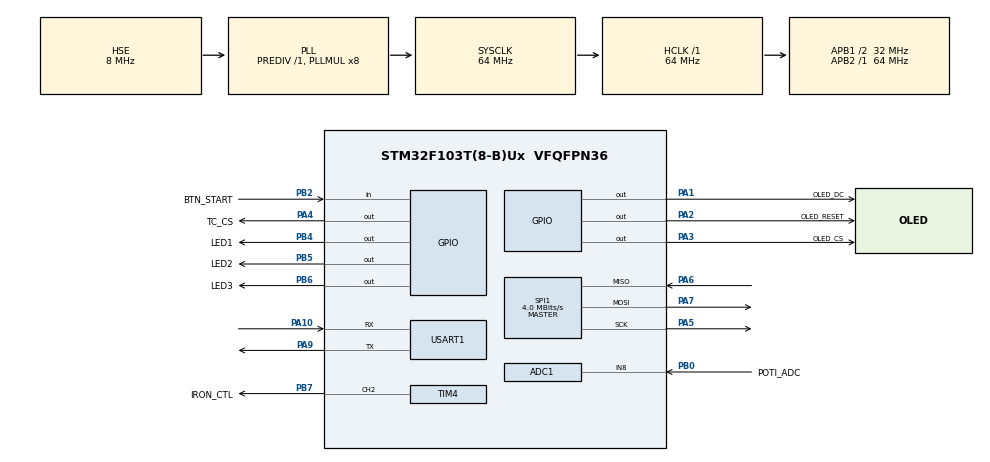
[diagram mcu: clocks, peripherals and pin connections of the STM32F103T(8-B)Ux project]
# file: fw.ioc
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ADC1.Channel-0\#ChannelRegularConversion=ADC_CHANNEL_8
ADC1.NbrOfConversion=1
ADC1.NbrOfConversionFlag=1
ADC1.Rank-0\#ChannelRegularConversion=1
ADC1.SamplingTime-0\#ChannelRegularConversion=ADC_SAMPLETIME_1CYCLE_5
ADC1.master=1
FREERTOS.INCLUDE_vTaskDelayUntil=1
FREERTOS.MEMORY_ALLOCATION=2
FREERTOS.Tasks01=defaultTask,0,128,StartDefaultTask,Default,NULL,Static,defaultTaskBuffer,defaultTaskControlBlock;pidTask,1,128,StartPidTask,Default,NULL,Static,pidTaskBuffer,pidTaskControlBlock;tcTask,0,128,startTcTask,Default,NULL,Static,tcTaskBuffer,tcTaskControlBlock;controlTask,0,128,StartControlTask,As external,NULL,Static,controlTaskBuffer,controlTaskControlBlock
FREERTOS.configGENERATE_RUN_TIME_STATS=0
FREERTOS.configTICK_RATE_HZ=100
FREERTOS.configUSE_TRACE_FACILITY=0
Mcu.Family=STM32F1
Mcu.Name=STM32F103T(8-B)Ux
Mcu.Package=VFQFPN36
NVIC.PriorityGroup=NVIC_PRIORITYGROUP_4
NVIC.TIM1_UP_IRQn=true\:0\:0\:false\:false\:true\:false\:false
NVIC.TIM4_IRQn=true\:5\:0\:false\:false\:true\:true\:true
NVIC.TimeBase=TIM1_UP_IRQn
NVIC.TimeBaseIP=TIM1
NVIC.USART1_IRQn=true\:4\:0\:true\:false\:true\:false\:true
PA1.GPIO_Label=OLED_DC
PA1.Signal=GPIO_Output
PA10.Mode=Asynchronous
PA10.Signal=USART1_RX
PA13.Mode=Trace_Asynchronous_SW
PA13.Signal=SYS_JTMS-SWDIO
PA14.Mode=Trace_Asynchronous_SW
PA14.Signal=SYS_JTCK-SWCLK
PA2.GPIO_Label=OLED_RESET
PA2.Signal=GPIO_Output
PA3.GPIO_Label=OLED_CS
PA3.Signal=GPIO_Output
PA4.GPIO_Label=TC_CS
PA4.Signal=GPIO_Output
PA5.Mode=Full_Duplex_Master
PA5.Signal=SPI1_SCK
PA6.Mode=Full_Duplex_Master
PA6.Signal=SPI1_MISO
PA7.Mode=Full_Duplex_Master
PA7.Signal=SPI1_MOSI
PA9.Mode=Asynchronous
PA9.Signal=USART1_TX
PB0.GPIO_Label=POTI_ADC
PB0.Signal=ADCx_IN8
PB2.GPIO_Label=BTN_START
PB2.Signal=GPIO_Input
PB3.Mode=Trace_Asynchronous_SW
PB3.Signal=SYS_JTDO-TRACESWO
PB4.GPIO_Label=LED1
PB4.Signal=GPIO_Output
PB5.GPIO_Label=LED2
PB5.Signal=GPIO_Output
PB6.GPIO_Label=LED3
PB6.Signal=GPIO_Output
PB7.GPIO_Label=IRON_CTL
PB7.GPIO_Speed=GPIO_SPEED_FREQ_LOW
PB7.Signal=S_TIM4_CH2
PD0-OSC_IN.Mode=HSE-External-Oscillator
PD0-OSC_IN.Signal=RCC_OSC_IN
PD1-OSC_OUT.Mode=HSE-External-Oscillator
PD1-OSC_OUT.Signal=RCC_OSC_OUT
ProjectManager.HeapSize=0x200
ProjectManager.StackSize=0x400
ProjectManager.TargetToolchain=Makefile
RCC.ADCPresc=RCC_ADCPCLK2_DIV8
RCC.AHBFreq_Value=64000000
RCC.APB1CLKDivider=RCC_HCLK_DIV2
RCC.APB1Freq_Value=32000000
RCC.APB1TimFreq_Value=64000000
RCC.APB2Freq_Value=64000000
RCC.APB2TimFreq_Value=64000000
RCC.HCLKFreq_Value=64000000
RCC.PLLMUL=RCC_PLL_MUL8
RCC.PLLSourceVirtual=RCC_PLLSOURCE_HSE
RCC.SYSCLKFreq_VALUE=64000000
RCC.SYSCLKSource=RCC_SYSCLKSOURCE_PLLCLK
RCC.USBFreq_Value=64000000
SH.ADCx_IN8.0=ADC1_IN8,IN8
SH.S_TIM4_CH2.0=TIM4_CH2,PWM Generation2 CH2
SPI1.BaudRatePrescaler=SPI_BAUDRATEPRESCALER_16
SPI1.CLKPhase=SPI_PHASE_1EDGE
SPI1.CLKPolarity=SPI_POLARITY_LOW
SPI1.CalculateBaudRate=4.0 MBits/s
SPI1.Direction=SPI_DIRECTION_2LINES
SPI1.Mode=SPI_MODE_MASTER
SPI1.VirtualType=VM_MASTER
TIM4.Channel-PWM\ Generation2\ CH2=TIM_CHANNEL_2
TIM4.Period=7999
TIM4.Prescaler=7999
TIM4.Pulse-PWM\ Generation2\ CH2=4000
USART1.VirtualMode=VM_ASYNC
VP_FREERTOS_VS_ENABLE.Mode=Enabled
VP_SYS_VS_tim1.Mode=TIM1
VP_TIM4_VS_ClockSourceINT.Mode=Internal
board=custom

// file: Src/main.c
/* USER CODE BEGIN Header */
/**
  ******************************************************************************
  * @file           : main.c
  * @brief          : Main program body
  ******************************************************************************
  ** This notice applies to any and all portions of this file
  * that are not between comment pairs USER CODE BEGIN and
  * USER CODE END. Other portions of this file, whether
  * inserted by the user or by software development tools
  * are owned by their respective copyright owners.
  *
  * COPYRIGHT(c) 2019 STMicroelectronics
  *
  * Redistribution and use in source and binary forms, with or without modification,
  * are permitted provided that the following conditions are met:
  *   1. Redistributions of source code must retain the above copyright notice,
  *      this list of conditions and the following disclaimer.
  *   2. Redistributions in binary form must reproduce the above copyright notice,
  *      this list of conditions and the following disclaimer in the documentation
  *      and/or other materials provided with the distribution.
  *   3. Neither the name of STMicroelectronics nor the names of its contributors
  *      may be used to endorse or promote products derived from this software
  *      without specific prior written permission.
  *
  * THIS SOFTWARE IS PROVIDED BY THE COPYRIGHT HOLDERS AND CONTRIBUTORS "AS IS"
  * AND ANY EXPRESS OR IMPLIED WARRANTIES, INCLUDING, BUT NOT LIMITED TO, THE
  * IMPLIED WARRANTIES OF MERCHANTABILITY AND FITNESS FOR A PARTICULAR PURPOSE ARE
  * DISCLAIMED. IN NO EVENT SHALL THE COPYRIGHT HOLDER OR CONTRIBUTORS BE LIABLE
  * FOR ANY DIRECT, INDIRECT, INCIDENTAL, SPECIAL, EXEMPLARY, OR CONSEQUENTIAL
  * DAMAGES (INCLUDING, BUT NOT LIMITED TO, PROCUREMENT OF SUBSTITUTE GOODS OR
  * SERVICES; LOSS OF USE, DATA, OR PROFITS; OR BUSINESS INTERRUPTION) HOWEVER
  * CAUSED AND ON ANY THEORY OF LIABILITY, WHETHER IN CONTRACT, STRICT LIABILITY,
  * OR TORT (INCLUDING NEGLIGENCE OR OTHERWISE) ARISING IN ANY WAY OUT OF THE USE
  * OF THIS SOFTWARE, EVEN IF ADVISED OF THE POSSIBILITY OF SUCH DAMAGE.
  *
  ******************************************************************************
  */
/* USER CODE END Header */

#include "main.h"
#include "cmsis_os.h"

/* USER CODE BEGIN Includes */
#include "oled.h"
#include "pid.h"
#include "thermocouple.h"

/* USER CODE END Includes */

ADC_HandleTypeDef hadc1;

SPI_HandleTypeDef hspi1;

TIM_HandleTypeDef htim4;

UART_HandleTypeDef huart1;

osThreadId defaultTaskHandle;
uint32_t defaultTaskBuffer[ 128 ];
osStaticThreadDef_t defaultTaskControlBlock;
osThreadId pidTaskHandle;
uint32_t pidTaskBuffer[ 128 ];
osStaticThreadDef_t pidTaskControlBlock;
osThreadId tcTaskHandle;
uint32_t tcTaskBuffer[ 128 ];
osStaticThreadDef_t tcTaskControlBlock;
osThreadId controlTaskHandle;
uint32_t controlTaskBuffer[ 128 ];
osStaticThreadDef_t controlTaskControlBlock;

void SystemClock_Config(void);
static void MX_GPIO_Init(void);
static void MX_SPI1_Init(void);
static void MX_ADC1_Init(void);
static void MX_USART1_UART_Init(void);
static void MX_TIM4_Init(void);
void StartDefaultTask(void const * argument);
void StartPidTask(void const * argument);
void startTcTask(void const * argument);
extern void StartControlTask(void const * argument);

/* USER CODE BEGIN 0 */
  void vTaskLedRed(void *p) {
    for (;;) {
    }
  }

/* USER CODE END 0 */

int main(void)
{
  /* USER CODE BEGIN 1 */
  task_pid_status    = TASK_WAIT;
  task_pid_remaining = TASK_PID_INTERVAL;

  /* USER CODE END 1 */

  /* MCU Configuration--------------------------------------------------------*/

  /* Reset of all peripherals, Initializes the Flash interface and the Systick. */
  HAL_Init();

  /* Configure the system clock */
  SystemClock_Config();

  /* Initialize all configured peripherals */
  MX_GPIO_Init();
  MX_SPI1_Init();
  MX_ADC1_Init();
  MX_USART1_UART_Init();
  MX_TIM4_Init();
  /* USER CODE BEGIN 2 */
  HAL_GPIO_WritePin(OLED_CS_GPIO_Port, OLED_CS_Pin, GPIO_PIN_SET);
  HAL_GPIO_WritePin(TC_CS_GPIO_Port, TC_CS_Pin, GPIO_PIN_SET);
  oled_init();
  tc_init();

  //HAL_GPIO_WritePin(GPIOB, LED3_Pin, GPIO_PIN_SET);
  //HAL_GPIO_WritePin(GPIOB, LED2_Pin, GPIO_PIN_SET);
  //HAL_GPIO_WritePin(GPIOB, LED1_Pin, GPIO_PIN_SET);

  /* USER CODE END 2 */

  /* Create the thread(s) */
  /* definition and creation of defaultTask */
  osThreadStaticDef(defaultTask, StartDefaultTask, osPriorityNormal, 0, 128, defaultTaskBuffer, &defaultTaskControlBlock);
  defaultTaskHandle = osThreadCreate(osThread(defaultTask), NULL);

  /* definition and creation of pidTask */
  osThreadStaticDef(pidTask, StartPidTask, osPriorityAboveNormal, 0, 128, pidTaskBuffer, &pidTaskControlBlock);
  pidTaskHandle = osThreadCreate(osThread(pidTask), NULL);

  /* definition and creation of tcTask */
  osThreadStaticDef(tcTask, startTcTask, osPriorityNormal, 0, 128, tcTaskBuffer, &tcTaskControlBlock);
  tcTaskHandle = osThreadCreate(osThread(tcTask), NULL);

  /* definition and creation of controlTask */
  osThreadStaticDef(controlTask, StartControlTask, osPriorityNormal, 0, 128, controlTaskBuffer, &controlTaskControlBlock);
  controlTaskHandle = osThreadCreate(osThread(controlTask), NULL);

  /* Start scheduler */
  osKernelStart();

  /* We should never get here as control is now taken by the scheduler */

  /* Infinite loop */
  while (1)
  {

  }
}

void SystemClock_Config(void)
{
  RCC_OscInitTypeDef RCC_OscInitStruct = {0};
  RCC_ClkInitTypeDef RCC_ClkInitStruct = {0};
  RCC_PeriphCLKInitTypeDef PeriphClkInit = {0};

  /**Initializes the CPU, AHB and APB busses clocks
  */
  RCC_OscInitStruct.OscillatorType = RCC_OSCILLATORTYPE_HSE;
  RCC_OscInitStruct.HSEState = RCC_HSE_ON;
  RCC_OscInitStruct.HSEPredivValue = RCC_HSE_PREDIV_DIV1;
  RCC_OscInitStruct.HSIState = RCC_HSI_ON;
  RCC_OscInitStruct.PLL.PLLState = RCC_PLL_ON;
  RCC_OscInitStruct.PLL.PLLSource = RCC_PLLSOURCE_HSE;
  RCC_OscInitStruct.PLL.PLLMUL = RCC_PLL_MUL8;
  if (HAL_RCC_OscConfig(&RCC_OscInitStruct) != HAL_OK)
  {
    Error_Handler();
  }
  /**Initializes the CPU, AHB and APB busses clocks
  */
  RCC_ClkInitStruct.ClockType = RCC_CLOCKTYPE_HCLK|RCC_CLOCKTYPE_SYSCLK
                              |RCC_CLOCKTYPE_PCLK1|RCC_CLOCKTYPE_PCLK2;
  RCC_ClkInitStruct.SYSCLKSource = RCC_SYSCLKSOURCE_PLLCLK;
  RCC_ClkInitStruct.AHBCLKDivider = RCC_SYSCLK_DIV1;
  RCC_ClkInitStruct.APB1CLKDivider = RCC_HCLK_DIV2;
  RCC_ClkInitStruct.APB2CLKDivider = RCC_HCLK_DIV1;

  if (HAL_RCC_ClockConfig(&RCC_ClkInitStruct, FLASH_LATENCY_2) != HAL_OK)
  {
    Error_Handler();
  }
  PeriphClkInit.PeriphClockSelection = RCC_PERIPHCLK_ADC;
  PeriphClkInit.AdcClockSelection = RCC_ADCPCLK2_DIV8;
  if (HAL_RCCEx_PeriphCLKConfig(&PeriphClkInit) != HAL_OK)
  {
    Error_Handler();
  }
}

static void MX_ADC1_Init(void)
{

  ADC_ChannelConfTypeDef sConfig = {0};

  /**Common config
  */
  hadc1.Instance = ADC1;
  hadc1.Init.ScanConvMode = ADC_SCAN_DISABLE;
  hadc1.Init.ContinuousConvMode = DISABLE;
  hadc1.Init.DiscontinuousConvMode = DISABLE;
  hadc1.Init.ExternalTrigConv = ADC_SOFTWARE_START;
  hadc1.Init.DataAlign = ADC_DATAALIGN_RIGHT;
  hadc1.Init.NbrOfConversion = 1;
  if (HAL_ADC_Init(&hadc1) != HAL_OK)
  {
    Error_Handler();
  }
  /**Configure Regular Channel
  */
  sConfig.Channel = ADC_CHANNEL_8;
  sConfig.Rank = ADC_REGULAR_RANK_1;
  sConfig.SamplingTime = ADC_SAMPLETIME_1CYCLE_5;
  if (HAL_ADC_ConfigChannel(&hadc1, &sConfig) != HAL_OK)
  {
    Error_Handler();
  }

}

static void MX_SPI1_Init(void)
{

  /* SPI1 parameter configuration*/
  hspi1.Instance = SPI1;
  hspi1.Init.Mode = SPI_MODE_MASTER;
  hspi1.Init.Direction = SPI_DIRECTION_2LINES;
  hspi1.Init.DataSize = SPI_DATASIZE_8BIT;
  hspi1.Init.CLKPolarity = SPI_POLARITY_LOW;
  hspi1.Init.CLKPhase = SPI_PHASE_1EDGE;
  hspi1.Init.NSS = SPI_NSS_SOFT;
  hspi1.Init.BaudRatePrescaler = SPI_BAUDRATEPRESCALER_16;
  hspi1.Init.FirstBit = SPI_FIRSTBIT_MSB;
  hspi1.Init.TIMode = SPI_TIMODE_DISABLE;
  hspi1.Init.CRCCalculation = SPI_CRCCALCULATION_DISABLE;
  hspi1.Init.CRCPolynomial = 10;
  if (HAL_SPI_Init(&hspi1) != HAL_OK)
  {
    Error_Handler();
  }

}

static void MX_TIM4_Init(void)
{

  TIM_ClockConfigTypeDef sClockSourceConfig = {0};
  TIM_MasterConfigTypeDef sMasterConfig = {0};
  TIM_OC_InitTypeDef sConfigOC = {0};

  htim4.Instance = TIM4;
  htim4.Init.Prescaler = 7999;
  htim4.Init.CounterMode = TIM_COUNTERMODE_UP;
  htim4.Init.Period = 7999;
  htim4.Init.ClockDivision = TIM_CLOCKDIVISION_DIV1;
  htim4.Init.AutoReloadPreload = TIM_AUTORELOAD_PRELOAD_DISABLE;
  if (HAL_TIM_Base_Init(&htim4) != HAL_OK)
  {
    Error_Handler();
  }
  sClockSourceConfig.ClockSource = TIM_CLOCKSOURCE_INTERNAL;
  if (HAL_TIM_ConfigClockSource(&htim4, &sClockSourceConfig) != HAL_OK)
  {
    Error_Handler();
  }
  if (HAL_TIM_PWM_Init(&htim4) != HAL_OK)
  {
    Error_Handler();
  }
  sMasterConfig.MasterOutputTrigger = TIM_TRGO_RESET;
  sMasterConfig.MasterSlaveMode = TIM_MASTERSLAVEMODE_DISABLE;
  if (HAL_TIMEx_MasterConfigSynchronization(&htim4, &sMasterConfig) != HAL_OK)
  {
    Error_Handler();
  }
  sConfigOC.OCMode = TIM_OCMODE_PWM1;
  sConfigOC.Pulse = 4000;
  sConfigOC.OCPolarity = TIM_OCPOLARITY_HIGH;
  sConfigOC.OCFastMode = TIM_OCFAST_DISABLE;
  if (HAL_TIM_PWM_ConfigChannel(&htim4, &sConfigOC, TIM_CHANNEL_2) != HAL_OK)
  {
    Error_Handler();
  }
  HAL_TIM_MspPostInit(&htim4);

}

static void MX_USART1_UART_Init(void)
{

  huart1.Instance = USART1;
  huart1.Init.BaudRate = 115200;
  huart1.Init.WordLength = UART_WORDLENGTH_8B;
  huart1.Init.StopBits = UART_STOPBITS_1;
  huart1.Init.Parity = UART_PARITY_NONE;
  huart1.Init.Mode = UART_MODE_TX_RX;
  huart1.Init.HwFlowCtl = UART_HWCONTROL_NONE;
  huart1.Init.OverSampling = UART_OVERSAMPLING_16;
  if (HAL_UART_Init(&huart1) != HAL_OK)
  {
    Error_Handler();
  }

}

static void MX_GPIO_Init(void)
{
  GPIO_InitTypeDef GPIO_InitStruct = {0};

  /* GPIO Ports Clock Enable */
  __HAL_RCC_GPIOD_CLK_ENABLE();
  __HAL_RCC_GPIOA_CLK_ENABLE();
  __HAL_RCC_GPIOB_CLK_ENABLE();

  /*Configure GPIO pin Output Level */
  HAL_GPIO_WritePin(GPIOA, OLED_DC_Pin|OLED_RESET_Pin|OLED_CS_Pin|TC_CS_Pin, GPIO_PIN_RESET);

  /*Configure GPIO pin Output Level */
  HAL_GPIO_WritePin(GPIOB, LED1_Pin|LED2_Pin|LED3_Pin, GPIO_PIN_RESET);

  /*Configure GPIO pins : OLED_DC_Pin OLED_RESET_Pin OLED_CS_Pin TC_CS_Pin */
  GPIO_InitStruct.Pin = OLED_DC_Pin|OLED_RESET_Pin|OLED_CS_Pin|TC_CS_Pin;
  GPIO_InitStruct.Mode = GPIO_MODE_OUTPUT_PP;
  GPIO_InitStruct.Pull = GPIO_NOPULL;
  GPIO_InitStruct.Speed = GPIO_SPEED_FREQ_LOW;
  HAL_GPIO_Init(GPIOA, &GPIO_InitStruct);

  /*Configure GPIO pin : BTN_START_Pin */
  GPIO_InitStruct.Pin = BTN_START_Pin;
  GPIO_InitStruct.Mode = GPIO_MODE_INPUT;
  GPIO_InitStruct.Pull = GPIO_NOPULL;
  HAL_GPIO_Init(BTN_START_GPIO_Port, &GPIO_InitStruct);

  /*Configure GPIO pins : LED1_Pin LED2_Pin LED3_Pin */
  GPIO_InitStruct.Pin = LED1_Pin|LED2_Pin|LED3_Pin;
  GPIO_InitStruct.Mode = GPIO_MODE_OUTPUT_PP;
  GPIO_InitStruct.Pull = GPIO_NOPULL;
  GPIO_InitStruct.Speed = GPIO_SPEED_FREQ_LOW;
  HAL_GPIO_Init(GPIOB, &GPIO_InitStruct);

}

void StartDefaultTask(void const * argument)
{

  /* USER CODE BEGIN 5 */
   TickType_t xLastWakeTime;
   const TickType_t xFrequency = 100;
   // Initialise the xLastWakeTime variable with the current time.
   xLastWakeTime = xTaskGetTickCount();

  /* Infinite loop */
  for(;;)
  {
      osDelay(100);
      /*
      uint8_t cbuf[8];
      char displaybuf[24];
      uint16_t temp = tc_getAverageTemperature();
      uint32_t ctime = HAL_GetTick();
      cbuf[0] = (ctime >> 24) & 0xFF;
      cbuf[1] = (ctime >> 16) & 0xFF;
      cbuf[2] = (ctime >> 8) & 0xFF;
      cbuf[3] = (ctime & 0xFF);
      uint8_t t_msb = temp >> 8;
      cbuf[4] = t_msb & 0xFF; //(char) (temp >> 8) & 0xFF;
      cbuf[5] = temp & 0xFF;
      cbuf[6] = pid_getCurOutputPower() & 0xFF;
      cbuf[7] = '\n';

      HAL_UART_Transmit(&huart1, &cbuf, 8, HAL_MAX_DELAY);

      u8g2_ClearBuffer(&u8g2);
      u8g2_SetFont(&u8g2, u8g2_font_helvB10_tr);

      uint16_t fracTemp = temp;
      temp /= 100;
      fracTemp -= temp * 100;
      sprintf(displaybuf, "%d.%d C - %d %%", temp, fracTemp, pid_getCurOutputPower());
      u8g2_DrawStr(&u8g2, 0, 64, displaybuf);

      uint32_t aval = 0;

      HAL_ADC_Start(&hadc1);
      if (HAL_ADC_PollForConversion(&hadc1, 1000000) == HAL_OK) {
        aval = HAL_ADC_GetValue(&hadc1);
      }

      if (aval > 2000 && pid_getStatus() == 0)
          pid_enable();

      if (aval < 1000 && pid_getStatus() == 1)
          pid_disable();

      sprintf(displaybuf, "%d", aval);
      u8g2_DrawStr(&u8g2, 0, 32, displaybuf);

      if (pid_getStatus() == 0)
        u8g2_DrawStr(&u8g2, 40, 15, "PID off");
      else
        u8g2_DrawStr(&u8g2, 40, 15, "PID on");

      u8g2_SendBuffer(&u8g2);

      vTaskDelayUntil( &xLastWakeTime, xFrequency );
*/
      //osDelay(1000);
  }
  /* USER CODE END 5 */
}

void StartPidTask(void const * argument)
{
  /* USER CODE BEGIN StartPidTask */
   TickType_t xLastWakeTime;
   const TickType_t xFrequency = 100;
   // Initialise the xLastWakeTime variable with the current time.
   xLastWakeTime = xTaskGetTickCount();

   pid_init();
   __HAL_TIM_SET_COMPARE(&htim4, TIM_CHANNEL_2, 0);
   HAL_TIM_PWM_Start(&htim4, TIM_CHANNEL_2);

  /* Infinite loop */
  for(;;)
  {
      uint16_t power = pid_calculate();
      power *= 80;
      __HAL_TIM_SET_COMPARE(&htim4, TIM_CHANNEL_2, power);
      vTaskDelayUntil(&xLastWakeTime, xFrequency);
  }
  /* USER CODE END StartPidTask */
}

void startTcTask(void const * argument)
{
  /* USER CODE BEGIN startTcTask */
  TickType_t xLastWakeTime;
  const TickType_t xFrequency = 25;
  // Initialise the xLastWakeTime variable with the current time.
  xLastWakeTime = xTaskGetTickCount();

  /* Infinite loop */
  for(;;)
  {
    tc_poll();
    vTaskDelayUntil(&xLastWakeTime, xFrequency);
  }
  /* USER CODE END startTcTask */
}

void HAL_TIM_PeriodElapsedCallback(TIM_HandleTypeDef *htim)
{
  if (htim->Instance == TIM1) {
    HAL_IncTick();
  }
}

void Error_Handler(void)
{
}

/************************ (C) COPYRIGHT STMicroelectronics *****END OF FILE****/
